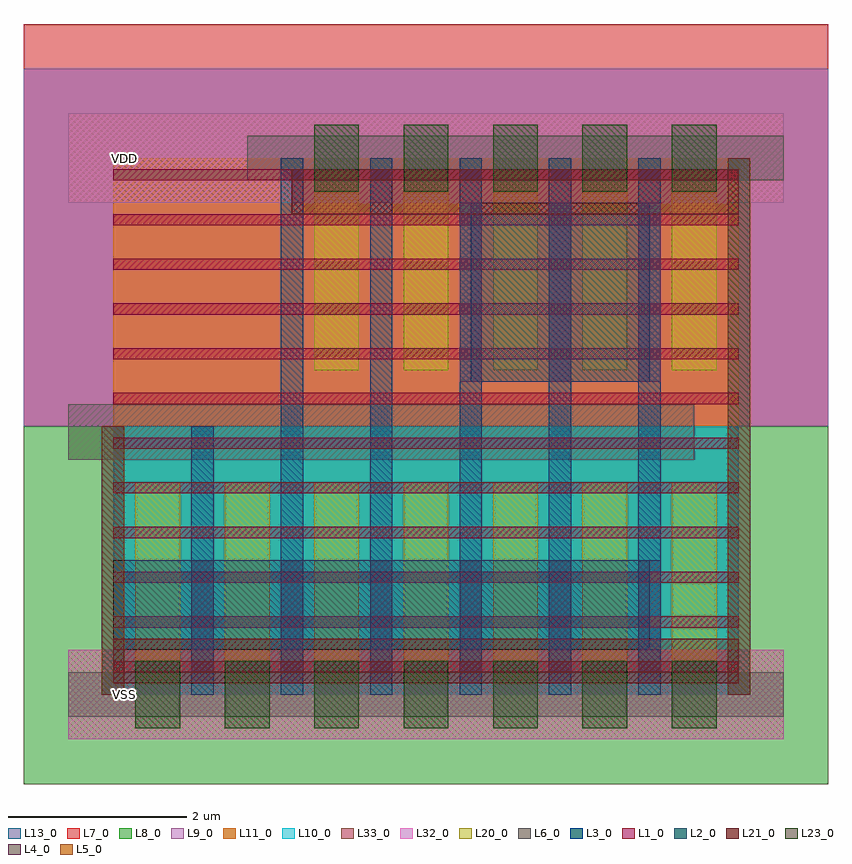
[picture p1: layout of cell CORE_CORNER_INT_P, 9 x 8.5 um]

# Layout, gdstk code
import gdstk
lib = gdstk.Library(unit=1e-6, precision=1e-10)
def R(c, l, rs):  # rectangles x0, y0, x1, y1
    for r in rs: c.add(gdstk.rectangle(r[:2], r[2:], *l))
def A(c, l, x, y, w, h, nx, ny, dx, dy):  # array of equal rectangles
    R(c, l, [(x+i*dx, y+j*dy, x+i*dx+w, y+j*dy+h) for i in range(nx) for j in range(ny)])
L1_0 = (1, 0)
L2_0 = (2, 0)
L3_0 = (3, 0)
L4_0 = (4, 0)
L5_0 = (5, 0)
L6_0 = (6, 0)
L7_0 = (7, 0)
L8_0 = (8, 0)
L9_0 = (9, 0)
L10_0 = (10, 0)
L11_0 = (11, 0)
L13_0 = (13, 0)
L20_0 = (20, 0)
L21_0 = (21, 0)
L23_0 = (23, 0)
L32_0 = (32, 0)
L33_0 = (33, 0)

core_corner_int_p = lib.new_cell('CORE_CORNER_INT_P')
A(core_corner_int_p, L1_0, 0, 0.25, 7, 0.125, 1, 12, 0, 0.5)
R(core_corner_int_p, L2_0, [(0,0.5,6,1.5), (4,3.5,6,5.5)])
A(core_corner_int_p, L3_0, 1.875, 0, 0.25, 6, 6, 1, 1, 0)
R(core_corner_int_p, L3_0, [(-0.125,0,0.125,3), (0.875,0,1.125,3)])
A(core_corner_int_p, L4_0, 0.875, 0.5, 0.25, 1, 6, 1, 1, 0)
A(core_corner_int_p, L4_0, 3.875, 3.5, 0.25, 2, 3, 1, 1, 0)
R(core_corner_int_p, L5_0, [(-0.125,0,0.125,3), (6.875,0,7.125,6)])
R(core_corner_int_p, L6_0, [(-0.5,-0.25,7.5,0.25), (-0.5,2.625,6.5,3.25), (1.5,5.75,7.5,6.25)])
R(core_corner_int_p, L7_0, [(-1,3,8,7.5)])
R(core_corner_int_p, L8_0, [(-1,-1,8,3)])
R(core_corner_int_p, L9_0, [(-1,3,8,7)])
R(core_corner_int_p, L10_0, [(0,0,7,3)])
R(core_corner_int_p, L11_0, [(0,3,7,6)])
R(core_corner_int_p, L13_0, [(0,0,7,6)])
A(core_corner_int_p, L20_0, 0.25, 0.375, 0.5, 2, 7, 1, 1, 0)
A(core_corner_int_p, L20_0, 2.25, 3.625, 0.5, 2, 5, 1, 1, 0)
R(core_corner_int_p, L21_0, [(0,0.125,7,0.625), (2,5.375,7,5.875)])
A(core_corner_int_p, L23_0, 0.25, -0.375, 0.5, 0.75, 7, 1, 1, 0)
A(core_corner_int_p, L23_0, 2.25, 5.625, 0.5, 0.75, 5, 1, 1, 0)
R(core_corner_int_p, L32_0, [(-0.5,-0.5,7.5,0.5), (-0.5,5.5,7.5,6.5)])
R(core_corner_int_p, L33_0, [(-0.5,-0.5,7.5,0.5), (-0.5,5.5,7.5,6.5)])
core_corner_int_p.add(gdstk.Label('VDD', (0.125,6), layer=132, texttype=0))
core_corner_int_p.add(gdstk.Label('VSS', (0.125,0), layer=132, texttype=0))

lib.write_gds('CORE_CORNER_INT_P.gds')
